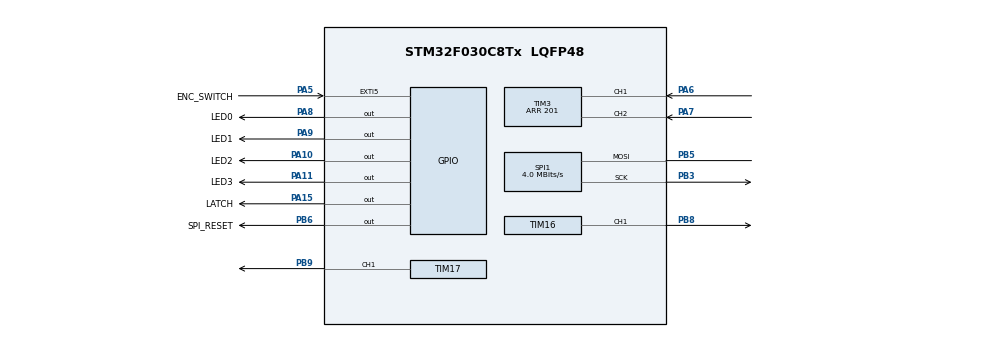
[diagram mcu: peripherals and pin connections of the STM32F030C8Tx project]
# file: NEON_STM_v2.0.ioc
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Mcu.Family=STM32F0
Mcu.Name=STM32F030C8Tx
Mcu.Package=LQFP48
NVIC.EXTI4_15_IRQn=true\:0\:0\:false\:false\:true\:true\:true
NVIC.TIM14_IRQn=true\:0\:0\:false\:false\:true\:true\:true
NVIC.TIM15_IRQn=true\:0\:0\:false\:false\:true\:true\:true
NVIC.TIM3_IRQn=true\:0\:0\:false\:false\:true\:true\:true
NVIC.TIM6_IRQn=true\:0\:0\:false\:false\:true\:true\:true
PA10.GPIO_Label=LED2
PA10.Signal=GPIO_Output
PA11.GPIO_Label=LED3
PA11.Signal=GPIO_Output
PA13.Mode=Serial_Wire
PA13.Signal=SYS_SWDIO
PA14.Mode=Serial_Wire
PA14.Signal=SYS_SWCLK
PA15.GPIO_Label=LATCH
PA15.Signal=GPIO_Output
PA5.GPIO_Label=ENC_SWITCH
PA5.GPIO_ModeDefaultEXTI=GPIO_MODE_IT_FALLING
PA5.Signal=GPXTI5
PA6.Signal=S_TIM3_CH1
PA7.Signal=S_TIM3_CH2
PA8.GPIO_Label=LED0
PA8.Signal=GPIO_Output
PA9.GPIO_Label=LED1
PA9.Signal=GPIO_Output
PB3.Mode=Simplex_Bidirectional_Master
PB3.Signal=SPI1_SCK
PB5.Mode=Simplex_Bidirectional_Master
PB5.Signal=SPI1_MOSI
PB6.GPIO_Label=SPI_RESET
PB6.GPIO_PuPd=GPIO_PULLUP
PB6.PinState=GPIO_PIN_SET
PB6.Signal=GPIO_Output
PB8.Signal=S_TIM16_CH1
PB9.Signal=S_TIM17_CH1
ProjectManager.HeapSize=0x200
ProjectManager.StackSize=0x400
ProjectManager.TargetToolchain=STM32CubeIDE
SH.S_TIM16_CH1.0=TIM16_CH1,PWM Generation1 CH1
SH.S_TIM17_CH1.0=TIM17_CH1,PWM Generation1 CH1
SH.S_TIM3_CH1.0=TIM3_CH1,Encoder_Interface
SH.S_TIM3_CH2.0=TIM3_CH2,Encoder_Interface
SPI1.CLKPolarity=SPI_POLARITY_LOW
SPI1.CalculateBaudRate=4.0 MBits/s
SPI1.DataSize=SPI_DATASIZE_16BIT
SPI1.Direction=SPI_DIRECTION_1LINE
SPI1.Mode=SPI_MODE_MASTER
SPI1.VirtualType=VM_MASTER
TIM14.Period=100
TIM14.Prescaler=799
TIM15.Period=45
TIM15.Prescaler=9999
TIM16.Channel=TIM_CHANNEL_1
TIM16.Period=99
TIM16.Prescaler=799
TIM17.Channel=TIM_CHANNEL_1
TIM17.Period=99
TIM17.Prescaler=799
TIM3.IC1Filter=15
TIM3.IC2Filter=15
TIM3.Period=201
TIM6.Period=399
TIM6.Prescaler=9999
VP_TIM14_VS_ClockSourceINT.Mode=Enable_Timer
VP_TIM15_VS_ClockSourceINT.Mode=Internal
VP_TIM16_VS_ClockSourceINT.Mode=Enable_Timer
VP_TIM17_VS_ClockSourceINT.Mode=Enable_Timer
VP_TIM6_VS_ClockSourceINT.Mode=Enable_Timer
board=custom

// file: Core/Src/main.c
/* USER CODE BEGIN Header */
/**
  ******************************************************************************
  * @file           : main.c
  * @brief          : Main program body
  ******************************************************************************
  * @attention
  *
  * <h2><center>&copy; Copyright (c) 2020 STMicroelectronics.
  * All rights reserved.</center></h2>
  *
  * This software component is licensed by ST under BSD 3-Clause license,
  * the "License"; You may not use this file except in compliance with the
  * License. You may obtain a copy of the License at:
  *                        opensource.org/licenses/BSD-3-Clause
  *
  ******************************************************************************
  */
/* USER CODE END Header */

#include "main.h"

SPI_HandleTypeDef hspi1;

TIM_HandleTypeDef htim3;
TIM_HandleTypeDef htim6;
TIM_HandleTypeDef htim14;
TIM_HandleTypeDef htim15;
TIM_HandleTypeDef htim16;
TIM_HandleTypeDef htim17;

/* USER CODE BEGIN PV */
volatile uint16_t pulse_count;
volatile uint16_t position;						// position of the encoder, ranging from 0 to 100
volatile uint16_t prev_position=0;
volatile uint8_t state=0;						// the state of the device (0 - working normally, 1 - switching mode, 2 - changing mode's parameter)
static volatile int8_t mode=0;             		// different light modes
static volatile int8_t temp_mode=0;             // different light modes

static volatile uint8_t brightness_level_startup=100;			// startup
static volatile uint8_t startup_end=0;
static volatile uint8_t brightness_level=50;				// mode 0 parameters

static volatile uint8_t brightness_level_letter0_mode1=100;	// mode 1 parameters
static volatile uint8_t brightness_level_letter1_mode1=100;
static volatile uint8_t counter_mode1=0;
static volatile uint8_t threshold_mode1=10;

static volatile uint8_t counter_mode2=0;					// mode 2 parameters
static volatile uint16_t threshold_mode2=100;
static volatile uint8_t phase_mode2=0;
static volatile uint8_t counter_mode3=0;					// mode 3 parameters
static volatile uint16_t threshold_mode3=100;
static volatile uint8_t phase_mode3=0;

const uint16_t LB_ALL[]={0xFFFF,0xFFFF};
const uint16_t LB_OFF[]={0x0000,0x0000};
const uint16_t LB_MODE2[]={0x0000,0x0001,0x0000,0x0003,0x0000,0x0007,0x0000,0x000F,0x0000,0x001F,0x0000,0x005F,0x0000,0x00DF,0x0000,0x00FF,
							0x0001,0x00FF,0x0003,0x00FF,0x0007,0x00FF,0x000F,0x00FF,0x001F,0x00FF,0x009F,0x00FF,0x029F,0x00FF,0x02DF,0x00FF,0x03DF,0x00FF,0x03FF,0x00FF,
							0x03FF,0x00FE,0x03FF,0x00FC,0x03FF,0x00F8,0x03FF,0x00F0,0x03FF,0x00E0,0x03FF,0x00A0,0x03FF,0x0020,0x03FF,0x0000,
							0x03FE,0x0000,0x03FC,0x0000,0x03F8,0x0000,0x03F0,0x0000,0x03E0,0x0000,0x0360,0x0000,0x0160,0x0000,0x0120,0x0000,0x0020,0x0000,0x0000,0x0000};
const uint16_t LB_MODE3[]={0x0021,0x0001,0x0123,0x0003,0x0146,0x0026,0x024C,0x00AC,0x0298,0x00D8,0x0090,0x0050};
/* USER CODE END PV */

void SystemClock_Config(void);
static void MX_GPIO_Init(void);
static void MX_SPI1_Init(void);
static void MX_TIM3_Init(void);
static void MX_TIM16_Init(void);
static void MX_TIM17_Init(void);
static void MX_TIM6_Init(void);
static void MX_TIM14_Init(void);
static void MX_TIM15_Init(void);
/* USER CODE BEGIN PFP */

// SPI Functions --------------------------------------------------------------
static void SPI_SendWord(uint16_t data[], uint8_t num_of_words);
void SPI_LatchData(void);
// LED Functions --------------------------------------------------------------
void LED_TurnOnAll(void);
void LED_TurnOffAll(void);
void LED_TurnOnSingle(uint8_t led_num);
void LED_ToggleSingle(uint8_t led_num);
// Callback Functions ---------------------------------------------------------
void HAL_GPIO_EXTI_Callback(uint16_t GPIO_Pin);
void HAL_TIM_PeriodElapsedCallback(TIM_HandleTypeDef *htim);
//void HAL_TIM_IC_CaptureCallback(TIM_HandleTypeDef *htim);
void LB_Startup(void);

/* USER CODE END PFP */

int main(void)
{

  /* MCU Configuration--------------------------------------------------------*/

  /* Reset of all peripherals, Initializes the Flash interface and the Systick. */
  HAL_Init();

  /* Configure the system clock */
  SystemClock_Config();

  /* Initialize all configured peripherals */
  MX_GPIO_Init();
  MX_SPI1_Init();
  MX_TIM3_Init();
  MX_TIM16_Init();
  MX_TIM17_Init();
  MX_TIM6_Init();
  MX_TIM14_Init();
  MX_TIM15_Init();
  /* USER CODE BEGIN 2 */

  // Turning on all peripherals ---------------------------
  HAL_TIM_Encoder_Start(&htim3, TIM_CHANNEL_ALL);
  HAL_TIM_PWM_Start(&htim16, TIM_CHANNEL_1);
  HAL_TIM_PWM_Start(&htim17, TIM_CHANNEL_1);

  // Startup procedure ------------------------------------
  LB_Startup();

  // state = 2 settings -----------------------------------
  if(mode==0)
  {
	  TIM16->CCR1=brightness_level;
	  TIM17->CCR1=brightness_level;
	  SPI_SendWord(LB_ALL,2);
	  SPI_LatchData();
  }

  // state = 1 settings -----------------------------------
  pulse_count=TIM3->CNT;
  position=pulse_count/2;
  prev_position=position;
  // ------------------------------------------------------

  /* USER CODE END 2 */

  /* Infinite loop */
  /* USER CODE BEGIN WHILE */
  while (1)
  {

	  while(state==0)			// normalna praca neonu
	  {
		  switch(mode)
		  {
		  	  case 0:
		  		  break;
		  	  case 1:
		  		  break;
		  	  case 2:
		  		  break;
		  	  case 3:
		  		  break;
		  }

		  /*
		  HAL_GPIO_WritePin(LED3_GPIO_Port, LED3_Pin, GPIO_PIN_SET);
		  HAL_Delay(100);
		  HAL_GPIO_WritePin(LED3_GPIO_Port, LED3_Pin, GPIO_PIN_RESET);
		  HAL_Delay(100);
		  */

	  }

	  while(state==1)			// stan wyboru konkretnego trybu
	  {
		  prev_position=position;
		  pulse_count=TIM3->CNT;
		  position=pulse_count/2;

		  if(position!=prev_position)
		  {
			  //HAL_Delay(50);

			  if(position==0&&prev_position==100)
				  --temp_mode;
			  else if(position==100&&prev_position==0)
				  ++temp_mode;
			  else if(position<prev_position)
				  ++temp_mode;
			  else if(position>prev_position)
				  --temp_mode;

			  if(temp_mode>3)
				  temp_mode=0;
			  else if(temp_mode<0)
				  temp_mode=3;

			  LED_TurnOnSingle(temp_mode);
		  }
		  //HAL_NVIC_EnableIRQ(EXTI4_15_IRQn);
	  }

	  while(state==2)			// stan zmiany parametru dotyczacego wybranego wczesniej trybu
	  {
		  prev_position=position;
  		  pulse_count=TIM3->CNT;
  		  position=pulse_count/2;

  		  if(position!=prev_position)
  		  {
			  switch(mode)
			  {
				  case 0:
					  if(position==0&&prev_position==100)
					  {
						  position=100;
						  TIM3->CNT=200;
					  }
					  if(position==100&&prev_position==0)
					  {
						  position=0;
						  TIM3->CNT=0;
					  }

					  TIM16->CCR1=position;
					  TIM17->CCR1=position;
					  break;
				  case 1:
					  if(position==21&&prev_position==20)
					  {
						  position=20;
						  TIM3->CNT=40;
					  }
					  if(position==0&&prev_position==1)
					  {
						  position=1;
						  TIM3->CNT=2;
					  }

					  threshold_mode1=position;
					  break;
				  case 2:
					  if(position==0&&prev_position==100)
					  {
						  position=100;
						  TIM3->CNT=200;
					  }
					  if(position==0&&prev_position==1)
					  {
						  position=1;
						  TIM3->CNT=2;
					  }

					  threshold_mode2=position*10;
					  break;
				  case 3:
					  if(position==0&&prev_position==100)
					  {
						  position=100;
						  TIM3->CNT=200;
					  }
					  if(position==0&&prev_position==1)
					  {
						  position=1;
						  TIM3->CNT=2;
					  }

					  threshold_mode3=position*10;
					  break;
			  }
  		  }

	  }

	  /*
	  uint8_t temp=0;
	  uint16_t data[]={0xFFFF};
	  if (temp==0)
	  {
		  TIM16->CCR1=0;
		  SPI_SendWord(data,1);
		  SPI_LatchData();
		  temp=1;
	  }

	  pulse_count=TIM3->CNT;
	  positions=pulse_count/2;
	  TIM16->CCR1=positions;
	  /*

	  if(HAL_GPIO_ReadPin(ENC_SWITCH_GPIO_Port, ENC_SWITCH_Pin)==0)
	  {
		  if(state)		//state=1
		  {
			  SPI_SendWord(0x0000);
			  SPI_LatchData();
			  state=0;
		  }
		  else			//state=0
		  {
			  SPI_SendWord(0xFFFF);
			  SPI_LatchData();
			  state=1;
		  }
	  }*/

	  //HAL_GPIO_WritePin(LED3_GPIO_Port, LED3_Pin, GPIO_PIN_SET);
	  //HAL_Delay(100);
	  //HAL_GPIO_WritePin(LED3_GPIO_Port, LED3_Pin, GPIO_PIN_RESET);
	  //HAL_Delay(100);
    /* USER CODE END WHILE */

  }
}

void SystemClock_Config(void)
{
  RCC_OscInitTypeDef RCC_OscInitStruct = {0};
  RCC_ClkInitTypeDef RCC_ClkInitStruct = {0};

  /** Initializes the CPU, AHB and APB busses clocks
  */
  RCC_OscInitStruct.OscillatorType = RCC_OSCILLATORTYPE_HSI;
  RCC_OscInitStruct.HSIState = RCC_HSI_ON;
  RCC_OscInitStruct.HSICalibrationValue = RCC_HSICALIBRATION_DEFAULT;
  RCC_OscInitStruct.PLL.PLLState = RCC_PLL_NONE;
  if (HAL_RCC_OscConfig(&RCC_OscInitStruct) != HAL_OK)
  {
    Error_Handler();
  }
  /** Initializes the CPU, AHB and APB busses clocks
  */
  RCC_ClkInitStruct.ClockType = RCC_CLOCKTYPE_HCLK|RCC_CLOCKTYPE_SYSCLK
                              |RCC_CLOCKTYPE_PCLK1;
  RCC_ClkInitStruct.SYSCLKSource = RCC_SYSCLKSOURCE_HSI;
  RCC_ClkInitStruct.AHBCLKDivider = RCC_SYSCLK_DIV1;
  RCC_ClkInitStruct.APB1CLKDivider = RCC_HCLK_DIV1;

  if (HAL_RCC_ClockConfig(&RCC_ClkInitStruct, FLASH_LATENCY_0) != HAL_OK)
  {
    Error_Handler();
  }
}

static void MX_SPI1_Init(void)
{

  /* SPI1 parameter configuration*/
  hspi1.Instance = SPI1;
  hspi1.Init.Mode = SPI_MODE_MASTER;
  hspi1.Init.Direction = SPI_DIRECTION_1LINE;
  hspi1.Init.DataSize = SPI_DATASIZE_16BIT;
  hspi1.Init.CLKPolarity = SPI_POLARITY_LOW;
  hspi1.Init.CLKPhase = SPI_PHASE_1EDGE;
  hspi1.Init.NSS = SPI_NSS_SOFT;
  hspi1.Init.BaudRatePrescaler = SPI_BAUDRATEPRESCALER_2;
  hspi1.Init.FirstBit = SPI_FIRSTBIT_MSB;
  hspi1.Init.TIMode = SPI_TIMODE_DISABLE;
  hspi1.Init.CRCCalculation = SPI_CRCCALCULATION_DISABLE;
  hspi1.Init.CRCPolynomial = 7;
  hspi1.Init.CRCLength = SPI_CRC_LENGTH_DATASIZE;
  hspi1.Init.NSSPMode = SPI_NSS_PULSE_ENABLE;
  if (HAL_SPI_Init(&hspi1) != HAL_OK)
  {
    Error_Handler();
  }
  /* USER CODE BEGIN SPI1_Init 2 */
  //__HAL_SPI_ENABLE(&hspi1);
  /* USER CODE END SPI1_Init 2 */

}

static void MX_TIM3_Init(void)
{

  TIM_Encoder_InitTypeDef sConfig = {0};
  TIM_MasterConfigTypeDef sMasterConfig = {0};

  htim3.Instance = TIM3;
  htim3.Init.Prescaler = 0;
  htim3.Init.CounterMode = TIM_COUNTERMODE_UP;
  htim3.Init.Period = 201;
  htim3.Init.ClockDivision = TIM_CLOCKDIVISION_DIV1;
  htim3.Init.AutoReloadPreload = TIM_AUTORELOAD_PRELOAD_DISABLE;
  sConfig.EncoderMode = TIM_ENCODERMODE_TI1;
  sConfig.IC1Polarity = TIM_ICPOLARITY_RISING;
  sConfig.IC1Selection = TIM_ICSELECTION_DIRECTTI;
  sConfig.IC1Prescaler = TIM_ICPSC_DIV1;
  sConfig.IC1Filter = 15;
  sConfig.IC2Polarity = TIM_ICPOLARITY_RISING;
  sConfig.IC2Selection = TIM_ICSELECTION_DIRECTTI;
  sConfig.IC2Prescaler = TIM_ICPSC_DIV1;
  sConfig.IC2Filter = 15;
  if (HAL_TIM_Encoder_Init(&htim3, &sConfig) != HAL_OK)
  {
    Error_Handler();
  }
  sMasterConfig.MasterOutputTrigger = TIM_TRGO_RESET;
  sMasterConfig.MasterSlaveMode = TIM_MASTERSLAVEMODE_DISABLE;
  if (HAL_TIMEx_MasterConfigSynchronization(&htim3, &sMasterConfig) != HAL_OK)
  {
    Error_Handler();
  }

}

static void MX_TIM6_Init(void)
{

  htim6.Instance = TIM6;
  htim6.Init.Prescaler = 9999;
  htim6.Init.CounterMode = TIM_COUNTERMODE_UP;
  htim6.Init.Period = 399;
  htim6.Init.AutoReloadPreload = TIM_AUTORELOAD_PRELOAD_DISABLE;
  if (HAL_TIM_Base_Init(&htim6) != HAL_OK)
  {
    Error_Handler();
  }

}

static void MX_TIM14_Init(void)
{

  htim14.Instance = TIM14;
  htim14.Init.Prescaler = 799;
  htim14.Init.CounterMode = TIM_COUNTERMODE_UP;
  htim14.Init.Period = 100;
  htim14.Init.ClockDivision = TIM_CLOCKDIVISION_DIV1;
  htim14.Init.AutoReloadPreload = TIM_AUTORELOAD_PRELOAD_DISABLE;
  if (HAL_TIM_Base_Init(&htim14) != HAL_OK)
  {
    Error_Handler();
  }

}

static void MX_TIM15_Init(void)
{

  TIM_ClockConfigTypeDef sClockSourceConfig = {0};
  TIM_MasterConfigTypeDef sMasterConfig = {0};

  htim15.Instance = TIM15;
  htim15.Init.Prescaler = 9999;
  htim15.Init.CounterMode = TIM_COUNTERMODE_UP;
  htim15.Init.Period = 45;
  htim15.Init.ClockDivision = TIM_CLOCKDIVISION_DIV1;
  htim15.Init.RepetitionCounter = 0;
  htim15.Init.AutoReloadPreload = TIM_AUTORELOAD_PRELOAD_DISABLE;
  if (HAL_TIM_Base_Init(&htim15) != HAL_OK)
  {
    Error_Handler();
  }
  sClockSourceConfig.ClockSource = TIM_CLOCKSOURCE_INTERNAL;
  if (HAL_TIM_ConfigClockSource(&htim15, &sClockSourceConfig) != HAL_OK)
  {
    Error_Handler();
  }
  sMasterConfig.MasterOutputTrigger = TIM_TRGO_RESET;
  sMasterConfig.MasterSlaveMode = TIM_MASTERSLAVEMODE_DISABLE;
  if (HAL_TIMEx_MasterConfigSynchronization(&htim15, &sMasterConfig) != HAL_OK)
  {
    Error_Handler();
  }

}

static void MX_TIM16_Init(void)
{

  TIM_OC_InitTypeDef sConfigOC = {0};
  TIM_BreakDeadTimeConfigTypeDef sBreakDeadTimeConfig = {0};

  htim16.Instance = TIM16;
  htim16.Init.Prescaler = 799;
  htim16.Init.CounterMode = TIM_COUNTERMODE_UP;
  htim16.Init.Period = 99;
  htim16.Init.ClockDivision = TIM_CLOCKDIVISION_DIV1;
  htim16.Init.RepetitionCounter = 0;
  htim16.Init.AutoReloadPreload = TIM_AUTORELOAD_PRELOAD_DISABLE;
  if (HAL_TIM_Base_Init(&htim16) != HAL_OK)
  {
    Error_Handler();
  }
  if (HAL_TIM_PWM_Init(&htim16) != HAL_OK)
  {
    Error_Handler();
  }
  sConfigOC.OCMode = TIM_OCMODE_PWM1;
  sConfigOC.Pulse = 0;
  sConfigOC.OCPolarity = TIM_OCPOLARITY_HIGH;
  sConfigOC.OCNPolarity = TIM_OCNPOLARITY_HIGH;
  sConfigOC.OCFastMode = TIM_OCFAST_DISABLE;
  sConfigOC.OCIdleState = TIM_OCIDLESTATE_RESET;
  sConfigOC.OCNIdleState = TIM_OCNIDLESTATE_RESET;
  if (HAL_TIM_PWM_ConfigChannel(&htim16, &sConfigOC, TIM_CHANNEL_1) != HAL_OK)
  {
    Error_Handler();
  }
  sBreakDeadTimeConfig.OffStateRunMode = TIM_OSSR_DISABLE;
  sBreakDeadTimeConfig.OffStateIDLEMode = TIM_OSSI_DISABLE;
  sBreakDeadTimeConfig.LockLevel = TIM_LOCKLEVEL_OFF;
  sBreakDeadTimeConfig.DeadTime = 0;
  sBreakDeadTimeConfig.BreakState = TIM_BREAK_DISABLE;
  sBreakDeadTimeConfig.BreakPolarity = TIM_BREAKPOLARITY_HIGH;
  sBreakDeadTimeConfig.AutomaticOutput = TIM_AUTOMATICOUTPUT_DISABLE;
  if (HAL_TIMEx_ConfigBreakDeadTime(&htim16, &sBreakDeadTimeConfig) != HAL_OK)
  {
    Error_Handler();
  }
  HAL_TIM_MspPostInit(&htim16);

}

static void MX_TIM17_Init(void)
{

  TIM_OC_InitTypeDef sConfigOC = {0};
  TIM_BreakDeadTimeConfigTypeDef sBreakDeadTimeConfig = {0};

  htim17.Instance = TIM17;
  htim17.Init.Prescaler = 799;
  htim17.Init.CounterMode = TIM_COUNTERMODE_UP;
  htim17.Init.Period = 99;
  htim17.Init.ClockDivision = TIM_CLOCKDIVISION_DIV1;
  htim17.Init.RepetitionCounter = 0;
  htim17.Init.AutoReloadPreload = TIM_AUTORELOAD_PRELOAD_DISABLE;
  if (HAL_TIM_Base_Init(&htim17) != HAL_OK)
  {
    Error_Handler();
  }
  if (HAL_TIM_PWM_Init(&htim17) != HAL_OK)
  {
    Error_Handler();
  }
  sConfigOC.OCMode = TIM_OCMODE_PWM1;
  sConfigOC.Pulse = 0;
  sConfigOC.OCPolarity = TIM_OCPOLARITY_HIGH;
  sConfigOC.OCNPolarity = TIM_OCNPOLARITY_HIGH;
  sConfigOC.OCFastMode = TIM_OCFAST_DISABLE;
  sConfigOC.OCIdleState = TIM_OCIDLESTATE_RESET;
  sConfigOC.OCNIdleState = TIM_OCNIDLESTATE_RESET;
  if (HAL_TIM_PWM_ConfigChannel(&htim17, &sConfigOC, TIM_CHANNEL_1) != HAL_OK)
  {
    Error_Handler();
  }
  sBreakDeadTimeConfig.OffStateRunMode = TIM_OSSR_DISABLE;
  sBreakDeadTimeConfig.OffStateIDLEMode = TIM_OSSI_DISABLE;
  sBreakDeadTimeConfig.LockLevel = TIM_LOCKLEVEL_OFF;
  sBreakDeadTimeConfig.DeadTime = 0;
  sBreakDeadTimeConfig.BreakState = TIM_BREAK_DISABLE;
  sBreakDeadTimeConfig.BreakPolarity = TIM_BREAKPOLARITY_HIGH;
  sBreakDeadTimeConfig.AutomaticOutput = TIM_AUTOMATICOUTPUT_DISABLE;
  if (HAL_TIMEx_ConfigBreakDeadTime(&htim17, &sBreakDeadTimeConfig) != HAL_OK)
  {
    Error_Handler();
  }
  HAL_TIM_MspPostInit(&htim17);

}

static void MX_GPIO_Init(void)
{
  GPIO_InitTypeDef GPIO_InitStruct = {0};

  /* GPIO Ports Clock Enable */
  __HAL_RCC_GPIOA_CLK_ENABLE();
  __HAL_RCC_GPIOB_CLK_ENABLE();

  /*Configure GPIO pin Output Level */
  HAL_GPIO_WritePin(GPIOA, LED0_Pin|LED1_Pin|LED2_Pin|LED3_Pin
                          |LATCH_Pin, GPIO_PIN_RESET);

  /*Configure GPIO pin Output Level */
  HAL_GPIO_WritePin(SPI_RESET_GPIO_Port, SPI_RESET_Pin, GPIO_PIN_SET);

  /*Configure GPIO pin : ENC_SWITCH_Pin */
  GPIO_InitStruct.Pin = ENC_SWITCH_Pin;
  GPIO_InitStruct.Mode = GPIO_MODE_IT_FALLING;
  GPIO_InitStruct.Pull = GPIO_NOPULL;
  HAL_GPIO_Init(ENC_SWITCH_GPIO_Port, &GPIO_InitStruct);

  /*Configure GPIO pins : LED0_Pin LED1_Pin LED2_Pin LED3_Pin
                           LATCH_Pin */
  GPIO_InitStruct.Pin = LED0_Pin|LED1_Pin|LED2_Pin|LED3_Pin
                          |LATCH_Pin;
  GPIO_InitStruct.Mode = GPIO_MODE_OUTPUT_PP;
  GPIO_InitStruct.Pull = GPIO_NOPULL;
  GPIO_InitStruct.Speed = GPIO_SPEED_FREQ_LOW;
  HAL_GPIO_Init(GPIOA, &GPIO_InitStruct);

  /*Configure GPIO pin : SPI_RESET_Pin */
  GPIO_InitStruct.Pin = SPI_RESET_Pin;
  GPIO_InitStruct.Mode = GPIO_MODE_OUTPUT_PP;
  GPIO_InitStruct.Pull = GPIO_PULLUP;
  GPIO_InitStruct.Speed = GPIO_SPEED_FREQ_LOW;
  HAL_GPIO_Init(SPI_RESET_GPIO_Port, &GPIO_InitStruct);

  /* EXTI interrupt init*/
  HAL_NVIC_SetPriority(EXTI4_15_IRQn, 0, 0);
  HAL_NVIC_EnableIRQ(EXTI4_15_IRQn);

}

/* USER CODE BEGIN 4 */
// CALLBACK FUNCTIONS -----------------------------------------------------------------
void HAL_GPIO_EXTI_Callback(uint16_t GPIO_Pin)
{
	++state;

	if(state==1)
		temp_mode=mode;
		LED_TurnOnSingle(mode);

	if(state==2)
	{
		mode=temp_mode;
		LED_TurnOffAll();
		HAL_TIM_Base_Start_IT(&htim6);
		//if(mode!=1&&mode!=2)
		HAL_TIM_Base_Stop_IT(&htim14);
		if(mode==0)
		{
			TIM3->CNT=brightness_level*2;
			SPI_SendWord(LB_ALL,2);
			SPI_LatchData();
		}
		if(mode==1)
		{
			TIM3->CNT=20;
			SPI_SendWord(LB_ALL,2);
			SPI_LatchData();
			counter_mode1=0;
			brightness_level_letter0_mode1=100;
			brightness_level_letter1_mode1=100;
			HAL_TIM_Base_Start_IT(&htim14);
		}
		if(mode==2)
		{
			TIM3->CNT=20;
			//position=10;
			SPI_SendWord(LB_OFF,2);
			SPI_LatchData();
			counter_mode2=0;
			TIM16->CCR1=brightness_level;
			TIM17->CCR1=brightness_level;
			HAL_TIM_Base_Start_IT(&htim14);
		}
		if(mode==3)
		{
			TIM3->CNT=20;
			//position=10;
			SPI_SendWord(LB_OFF,2);
			SPI_LatchData();
			counter_mode3=0;
			TIM16->CCR1=brightness_level;
			TIM17->CCR1=brightness_level;
			HAL_TIM_Base_Start_IT(&htim14);
		}
	}

	if(state>2) // state = 0
	{
		HAL_TIM_Base_Stop_IT(&htim6);
		LED_TurnOffAll();
		state=0;

		if(mode==0)
		{
			brightness_level=position;
		}
		if(mode==1)
		{
		}
	}

	/*
	switch (state)
	{
	case 0:
		LED
		break;
	case 1:
		LED_TurnOnSingle(mode);
		break;

	}*/

	//state=0; // zakomentuj/usun pozniej to
}

void HAL_TIM_PeriodElapsedCallback(TIM_HandleTypeDef *htim)
{
	if(htim->Instance==TIM6)
		LED_ToggleSingle(mode);
	if(htim->Instance==TIM14)
	{
		if(mode==1)
		{
			counter_mode1++;
			if(counter_mode1>=threshold_mode1)
			{
				if((brightness_level_letter0_mode1>=0&&brightness_level_letter0_mode1<50)&&brightness_level_letter1_mode1==0)
				{
					brightness_level_letter0_mode1++;
				}
				else if((brightness_level_letter0_mode1>=50&&brightness_level_letter0_mode1<100)&&(brightness_level_letter1_mode1>=0&&brightness_level_letter1_mode1<50))
				{
					brightness_level_letter0_mode1++;
					brightness_level_letter1_mode1++;
				}
				else if(brightness_level_letter0_mode1==100&&(brightness_level_letter1_mode1>=50&&brightness_level_letter1_mode1<100))
				{
					brightness_level_letter1_mode1++;
				}
				else if((brightness_level_letter0_mode1>50&&brightness_level_letter0_mode1<=100)&&brightness_level_letter1_mode1==100)
				{
					brightness_level_letter0_mode1--;
				}
				else if((brightness_level_letter0_mode1>=0&&brightness_level_letter0_mode1<=50)&&(brightness_level_letter1_mode1>50&&brightness_level_letter1_mode1<=100))
				{
					brightness_level_letter0_mode1--;
					brightness_level_letter1_mode1--;
				}
				else if(brightness_level_letter0_mode1==0&&(brightness_level_letter1_mode1>0&&brightness_level_letter1_mode1<=50))
				{
					brightness_level_letter1_mode1--;
				}

				TIM16->CCR1=brightness_level_letter0_mode1;
				TIM17->CCR1=brightness_level_letter1_mode1;
				counter_mode1=0;
			}
		}

		if(mode==2)
		{
			counter_mode2++;
			if(counter_mode2>=threshold_mode2)
			{
				SPI_SendWord(&LB_MODE2[phase_mode2],2);
				SPI_LatchData();
				counter_mode2=0;
				if(phase_mode2<70)
					phase_mode2=phase_mode2+2;
				else
				{
					SPI_SendWord(LB_OFF,2);
					SPI_LatchData();
					phase_mode2=0;
				}
			}

		}
		if(mode==3)
		{
			counter_mode3++;
			if(counter_mode3>=threshold_mode3)
			{
				SPI_SendWord(&LB_MODE3[phase_mode3],2);
				SPI_LatchData();
				counter_mode3=0;
				if(phase_mode3<12)
					phase_mode3=phase_mode3+2;
				else
				{
					SPI_SendWord(LB_OFF,2);
					SPI_LatchData();
					phase_mode3=0;
				}
			}

		}
	}
	if(htim->Instance==TIM15)
	{
		brightness_level_startup--;
		TIM16->CCR1=brightness_level_startup;
		TIM17->CCR1=brightness_level_startup;

		if(brightness_level_startup==0)
		{
			brightness_level_startup=100;
			startup_end=1;
		}
	}
}
/*
void HAL_TIM_IC_CaptureCallback(TIM_HandleTypeDef *htim)
{
	//static uint16_t pulse_count1, pulse_count2;

	// detection of the direction of the rotation
	if(htim->Instance==TIM3)
	{
		++lama;
		++occured;
		if(occured>=2)
		{
			occured=0;
			pulse_count2=TIM3->CNT;

			if(pulse_count1==pulse_count2)
				rotation=1;
			else
				rotation=2;
		}
		else
			pulse_count1=TIM3->CNT;

		// changing mode according to the detected direction
		if(rotation)
		{
			if(rotation==1)
				--mode;
			else
				++mode;

			if(mode>3)
				mode=0;
			if(mode<0)
				mode=3;

			LED_TurnOnSingle(mode);
			rotation=0;
		}
	}
}*/
// ------------------------------------------------------------------------------------
void SPI_SendWord(uint16_t data[], uint8_t num_of_words)
{
	HAL_SPI_Transmit(&hspi1, (uint8_t*)(data), num_of_words, HAL_MAX_DELAY);
}

void SPI_LatchData(void)
{
	HAL_GPIO_WritePin(LATCH_GPIO_Port, LATCH_Pin, GPIO_PIN_SET);
	HAL_GPIO_WritePin(LATCH_GPIO_Port, LATCH_Pin, GPIO_PIN_RESET);
}
void LED_TurnOffAll(void)
{
	HAL_GPIO_WritePin(LED0_GPIO_Port, LED0_Pin, GPIO_PIN_RESET);
	HAL_GPIO_WritePin(LED1_GPIO_Port, LED1_Pin, GPIO_PIN_RESET);
	HAL_GPIO_WritePin(LED2_GPIO_Port, LED2_Pin, GPIO_PIN_RESET);
	HAL_GPIO_WritePin(LED3_GPIO_Port, LED3_Pin, GPIO_PIN_RESET);
}
void LED_TurnOnAll(void)
{
	HAL_GPIO_WritePin(LED0_GPIO_Port, LED0_Pin, GPIO_PIN_SET);
	HAL_GPIO_WritePin(LED1_GPIO_Port, LED1_Pin, GPIO_PIN_SET);
	HAL_GPIO_WritePin(LED2_GPIO_Port, LED2_Pin, GPIO_PIN_SET);
	HAL_GPIO_WritePin(LED3_GPIO_Port, LED3_Pin, GPIO_PIN_SET);
}
void LED_TurnOnSingle(uint8_t led_num)
{
	LED_TurnOffAll();
	switch(led_num)
	{
		case 0:
			HAL_GPIO_WritePin(LED0_GPIO_Port, LED0_Pin, GPIO_PIN_SET);
			break;
		case 1:
			HAL_GPIO_WritePin(LED1_GPIO_Port, LED1_Pin, GPIO_PIN_SET);
			break;
		case 2:
			HAL_GPIO_WritePin(LED2_GPIO_Port, LED2_Pin, GPIO_PIN_SET);
			break;
		case 3:
			HAL_GPIO_WritePin(LED3_GPIO_Port, LED3_Pin, GPIO_PIN_SET);
			break;
	}
}
void LED_ToggleSingle(uint8_t led_num)
{
	switch(led_num)
	{
		case 0:
			HAL_GPIO_TogglePin(LED0_GPIO_Port, LED0_Pin);
			break;
		case 1:
			HAL_GPIO_TogglePin(LED1_GPIO_Port, LED1_Pin);
			break;
		case 2:
			HAL_GPIO_TogglePin(LED2_GPIO_Port, LED2_Pin);
			break;
		case 3:
			HAL_GPIO_TogglePin(LED3_GPIO_Port, LED3_Pin);
			break;
	}
}
void LB_Startup(void)
{
	SPI_SendWord(LB_ALL,2);
	SPI_LatchData();
	HAL_TIM_Base_Start_IT(&htim15);
	while(startup_end==0);
	HAL_TIM_Base_Stop_IT(&htim15);
	startup_end=0;
}
/* USER CODE END 4 */

void Error_Handler(void)
{
}

/************************ (C) COPYRIGHT STMicroelectronics *****END OF FILE****/
